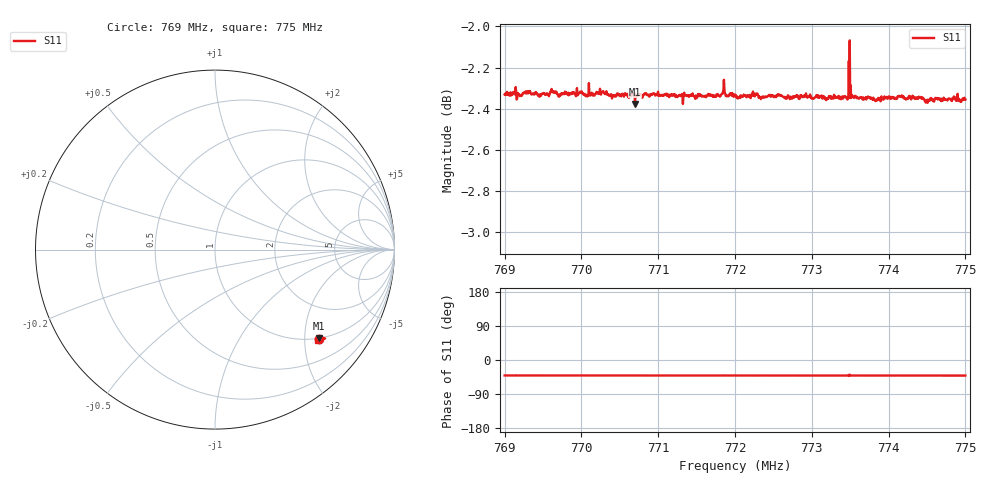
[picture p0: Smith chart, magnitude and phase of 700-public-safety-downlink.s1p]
! Calibrated averaged scanner-service zoom
# Hz S RI R 50
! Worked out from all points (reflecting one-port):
!   1001 points, 769 MHz to 775 MHz, reference 50 ohm
!   lowest |S11| = -2.4 dB at 770.698 MHz (marker M1), VSWR 7.35, Z = 50 - j117 ohm
!   phase of S11 starts at -41 deg and turns -0 deg over the sweep
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7.69e8  0.5791 -0.4993
7.69342e8  0.5792 -0.4999
7.69456e8  0.5786 -0.4985
7.69618e8  0.5795 -0.5013
7.6975e8  0.5783 -0.5003
7.69882e8  0.5793 -0.4995
7.705e8  0.5775 -0.5002
7.70698e8  0.5785 -0.4937
7.7125e8  0.5764 -0.5007
7.71778e8  0.5773 -0.5014
7.71844e8  0.5786 -0.5016
7.72e8  0.5774 -0.5012
7.7275e8  0.5762 -0.5002
7.73446e8  0.5763 -0.5006
7.73452e8  0.5759 -0.5006
7.73458e8  0.5765 -0.5002
7.73464e8  0.5754 -0.5003
7.735e8  0.5761 -0.5005
7.73512e8  0.5759 -0.5007
7.73518e8  0.577 -0.5007
7.73524e8  0.577 -0.5015
7.7353e8  0.5761 -0.501
7.73542e8  0.5763 -0.5008
7.73812e8  0.5759 -0.5
7.7425e8  0.5751 -0.501
7.74484e8  0.5745 -0.4994
7.74874e8  0.575 -0.5004
7.75e8  0.5741 -0.5018
